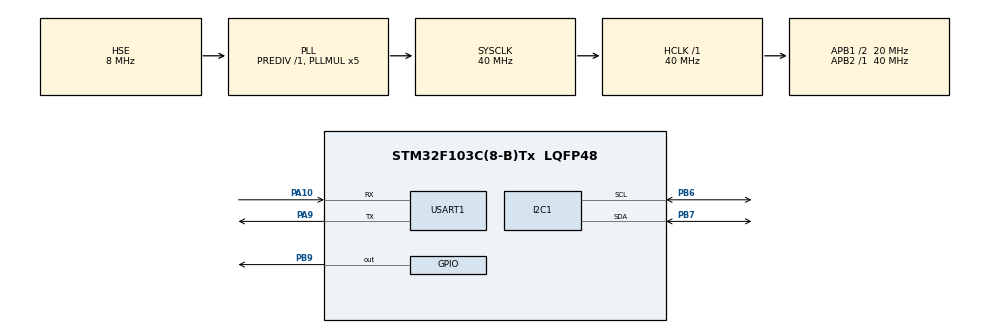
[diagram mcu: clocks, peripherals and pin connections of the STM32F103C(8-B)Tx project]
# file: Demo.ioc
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Mcu.Family=STM32F1
Mcu.Name=STM32F103C(8-B)Tx
Mcu.Package=LQFP48
NVIC.PriorityGroup=NVIC_PRIORITYGROUP_4
NVIC.TIM3_IRQn=true\:1\:0\:true\:false\:true\:true\:true\:true
PA10.Mode=Asynchronous
PA10.Signal=USART1_RX
PA13.Mode=Serial_Wire
PA13.Signal=SYS_JTMS-SWDIO
PA14.Mode=Serial_Wire
PA14.Signal=SYS_JTCK-SWCLK
PA9.Mode=Asynchronous
PA9.Signal=USART1_TX
PB6.Mode=I2C
PB6.Signal=I2C1_SCL
PB7.Mode=I2C
PB7.Signal=I2C1_SDA
PB9.Signal=GPIO_Output
PD0-OSC_IN.Mode=HSE-External-Oscillator
PD0-OSC_IN.Signal=RCC_OSC_IN
PD1-OSC_OUT.Mode=HSE-External-Oscillator
PD1-OSC_OUT.Signal=RCC_OSC_OUT
ProjectManager.HeapSize=0x200
ProjectManager.StackSize=0x400
ProjectManager.TargetToolchain=STM32CubeIDE
RCC.AHBFreq_Value=40000000
RCC.APB1CLKDivider=RCC_HCLK_DIV2
RCC.APB1Freq_Value=20000000
RCC.APB1TimFreq_Value=40000000
RCC.APB2Freq_Value=40000000
RCC.APB2TimFreq_Value=40000000
RCC.HCLKFreq_Value=40000000
RCC.PLLMUL=RCC_PLL_MUL5
RCC.PLLSourceVirtual=RCC_PLLSOURCE_HSE
RCC.SYSCLKFreq_VALUE=40000000
RCC.SYSCLKSource=RCC_SYSCLKSOURCE_PLLCLK
RCC.USBFreq_Value=40000000
TIM2.Prescaler=39
TIM3.Period=5000-1
TIM3.Prescaler=4000-1
USART1.VirtualMode=VM_ASYNC
VP_TIM2_VS_ClockSourceINT.Mode=Internal
VP_TIM3_VS_ClockSourceINT.Mode=Internal
board=custom

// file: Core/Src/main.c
/* USER CODE BEGIN Header */
/**
  ******************************************************************************
  * @file           : main.c
  * @brief          : Main program body
  ******************************************************************************
  * @attention
  *
  * Copyright (c) 2024 STMicroelectronics.
  * All rights reserved.
  *
  * This software is licensed under terms that can be found in the LICENSE file
  * in the root directory of this software component.
  * If no LICENSE file comes with this software, it is provided AS-IS.
  *
  ******************************************************************************
  */
/* USER CODE END Header */
#include "main.h"

/* USER CODE BEGIN Includes */
#include <stdio.h>
#include <stdint.h>
#include <string.h>

/* USER CODE END Includes */

/* USER CODE BEGIN PD */
uint32_t wait = 5000;
/* USER CODE END PD */

I2C_HandleTypeDef hi2c1;

TIM_HandleTypeDef htim2;
TIM_HandleTypeDef htim3;

UART_HandleTypeDef huart1;

void SystemClock_Config(void);
static void MX_GPIO_Init(void);
static void MX_USART1_UART_Init(void);
static void MX_I2C1_Init(void);
static void MX_TIM2_Init(void);
static void MX_TIM3_Init(void);

/* USER CODE BEGIN 0 */
/* ==========================LCD I2C ==========================*/
#define LCD_ADDR 0x4E
#define ADDRESS_FLASH_TEMPE 0x0800F000
#define ADDRESS_FLASH_HUMID 0x0800F004
/* ================= CREATE A DELAY 1us =================== */
void delay_1us(uint16_t time)
{
	__HAL_TIM_SET_COUNTER(&htim2,0);
	while((__HAL_TIM_GET_COUNTER(&htim2)) < time);
}
void LCD_Command(char cmd)
{
	char data_l, data_u;
	uint8_t data_t[4];
	data_u = (cmd&0xf0);
	data_l = ((cmd<<4)&0xf0);
	data_t[0] = data_u|0x0C;  //en=1, rs=0
	data_t[1] = data_u|0x08;  //en=0, rs=0
	data_t[2] = data_l|0x0C;  //en=1, rs=0
	data_t[3] = data_l|0x08;  //en=0, rs=0
	HAL_I2C_Master_Transmit (&hi2c1, LCD_ADDR,(uint8_t *) data_t, 4, 100);
}
void LCD_Data(char data)
{
	char data_l, data_u;
	uint8_t data_t[4];
	data_u = (data&0xf0);
	data_l = ((data<<4)&0xf0);
	data_t[0] = data_u|0x0D;  //en=1, rs=0
	data_t[1] = data_u|0x09;  //en=0, rs=0
	data_t[2] = data_l|0x0D;  //en=1, rs=0
	data_t[3] = data_l|0x09;  //en=0, rs=0
	HAL_I2C_Master_Transmit (&hi2c1, LCD_ADDR,(uint8_t *) data_t, 4, 100);
}
void LCD_Init(void)
{
	// 4 bit initialisation
	delay_1us(50000);  // wait for >40ms
	LCD_Command(0x30);
	delay_1us(5000);  // wait for >4.1ms
	LCD_Command (0x30);
	delay_1us(1000);  // wait for >100us
	LCD_Command (0x30);
	delay_1us(10000);
	LCD_Command (0x20);  // 4bit mode
	delay_1us(10000);

  // dislay initialisation
	LCD_Command (0x28); // Function set --> DL=0 (4 bit mode), N = 1 (2 line display) F = 0 (5x8 characters)
	delay_1us(1000);
	LCD_Command (0x08); //Display on/off control --> D=0,C=0, B=0  ---> display off
	delay_1us(1000);
	LCD_Command (0x01);  // clear display
	delay_1us(1000);
	delay_1us(1000);
	LCD_Command (0x06); //Entry mode set --> I/D = 1 (increment cursor) & S = 0 (no shift)
	delay_1us(1000);
	LCD_Command (0x0C); //Display on/off control --> D = 1, C and B = 0. (Cursor and blink, last two bits)

}
void LCD_GotoXY(uint8_t row, uint8_t col, char data)
{
	unsigned char cmd;
	cmd = (row==1?0x80:0xC0) + col - 1;
	LCD_Command(cmd);
	LCD_Data(data);

}
void LCD_String(char *s)
{
	while(*s)
	{
		LCD_Data(*s);
		s++;
	}
}
void LCD_GotoXY_String(uint8_t row, uint8_t col, char* data)
{
	unsigned char cmd;
	cmd = (row==1?0x80:0xC0) + col - 1;
	LCD_Command(cmd);
	LCD_String(data);

}

volatile uint8_t Temperature_byte1, Temperature_byte2, Humidity_byte1, Humidity_byte2, checksum = 0;
volatile uint16_t sum, humidity,temperature = 0;
volatile uint16_t humidity_flash, temperature_flash = 0;
volatile uint8_t check;
volatile uint8_t txbuffer[7];
volatile char tempe[4];
volatile char humid[4];
volatile char tempe_display[]="Nhiet Do: ";
volatile char humid_display[]="Do Am: ";
void Flash_Erase(uint32_t address)
{
	HAL_FLASH_Unlock();
	FLASH_EraseInitTypeDef EraseInitStruct;
	EraseInitStruct.Banks = 1;
	EraseInitStruct.NbPages = 1;
	EraseInitStruct.PageAddress = address;
	EraseInitStruct.TypeErase = FLASH_TYPEERASE_PAGES;
	uint32_t err;
	HAL_FLASHEx_Erase(&EraseInitStruct, &err);
	HAL_FLASH_Lock();
}
void Flash_WriteData(uint32_t address, int value)
{
	HAL_FLASH_Unlock();
	HAL_FLASH_Program(FLASH_TYPEPROGRAM_HALFWORD,address,value);
	HAL_FLASH_Lock();
}
int Flash_ReadData(uint32_t address)
{
	return *(__IO uint16_t *)(address);
}
void Int2String(uint16_t data, char *s)
{
	s[0] = data/10 + 48;
	s[1] = data%10 + 48;
}
void Set_Pin_Output(GPIO_TypeDef *GPIOx,uint16_t GPIO_PIN)
{
	 /*Configure GPIO pin : OUTPUT */
	  GPIO_InitTypeDef GPIO_InitStruct = {0};
	  GPIO_InitStruct.Pin = GPIO_PIN;
	  GPIO_InitStruct.Mode = GPIO_MODE_OUTPUT_PP;
	  GPIO_InitStruct.Pull = GPIO_NOPULL;
	  GPIO_InitStruct.Speed = GPIO_SPEED_FREQ_LOW;
	  HAL_GPIO_Init(GPIOB, &GPIO_InitStruct);
}
void Set_Pin_Input(GPIO_TypeDef *GPIOx,uint16_t GPIO_PIN)
{
	 /*Configure GPIO pin : INPUT */
	  GPIO_InitTypeDef GPIO_InitStruct = {0};
	  GPIO_InitStruct.Pin = GPIO_PIN;
	  GPIO_InitStruct.Mode = GPIO_MODE_INPUT;
	  GPIO_InitStruct.Pull = GPIO_PULLUP;
	  GPIO_InitStruct.Speed = GPIO_SPEED_FREQ_LOW;
	  HAL_GPIO_Init(GPIOB, &GPIO_InitStruct);
}
/* ======================== DHT11 ========================== */
#define DHT11_PORT GPIOB
#define DHT11_PIN GPIO_PIN_9
void DHT11_Init(void)
{
	Set_Pin_Output(DHT11_PORT, DHT11_PIN);
	HAL_GPIO_WritePin(DHT11_PORT,DHT11_PIN,0);
	delay_1us(18000);
	HAL_GPIO_WritePin(DHT11_PORT,DHT11_PIN,1);
	delay_1us(20);
	Set_Pin_Input(DHT11_PORT, DHT11_PIN);
}
uint8_t DHT11_Check(void)
{
	uint8_t response = 0;
	delay_1us(40);
	if (!(HAL_GPIO_ReadPin(DHT11_PORT, DHT11_PIN)))
	{
		delay_1us(80);
		if ((HAL_GPIO_ReadPin(DHT11_PORT, DHT11_PIN))) response = 1;
		else response = -1;
	}
	while ((HAL_GPIO_ReadPin(DHT11_PORT, DHT11_PIN)));   // wait for the pin to go low

	return response;
}
uint8_t DHT11_Read(void)
{
	uint8_t i,j;
	for (j=0;j<8;j++)
	{
		while (!(HAL_GPIO_ReadPin (DHT11_PORT, DHT11_PIN)));   // wait for the pin to go high
		delay_1us(40);   // wait for 40 us
		if (!(HAL_GPIO_ReadPin (DHT11_PORT, DHT11_PIN)))   // if the pin is low
		{
			i&= ~(1<<(7-j));   // write 0
		}
		else i|= (1<<(7-j));  // if the pin is high, write 1
		while ((HAL_GPIO_ReadPin (DHT11_PORT, DHT11_PIN)));  // wait for the pin to go low
	}
	return i;
}
void HAL_TIM_PeriodElapsedCallback(TIM_HandleTypeDef *htim)
{
 if(htim->Instance == htim3.Instance)
 {
	  DHT11_Init();
	  check = DHT11_Check();
	  Humidity_byte1 = DHT11_Read();
	  Humidity_byte2 = DHT11_Read();
	  Temperature_byte1 = DHT11_Read();
	  Temperature_byte2 = DHT11_Read();
	  checksum = DHT11_Read();

	  humidity = Humidity_byte1;
	  temperature = Temperature_byte1;
	 /* Int2String(humidity, humid);
	  LCD_GotoXY_String(2, 7, humid);
	  Int2String(temperature, tempe);
	  LCD_GotoXY_String(1, 10, tempe);
	  */
	  Flash_Erase(ADDRESS_FLASH_TEMPE);
	  Flash_WriteData(ADDRESS_FLASH_TEMPE,temperature);

	  	  //Flash_Erase(ADDRESS_FLASH);
	  Flash_WriteData(ADDRESS_FLASH_HUMID,humidity);
	  /* Convert temperature and humidity data to transmit through UART */
	  txbuffer[0] = temperature/10+48;
	  txbuffer[1] = temperature%10+48;
	  txbuffer[2] = '/';
	  txbuffer[3] = humidity/10+48;
	  txbuffer[4] = humidity%10+48;
	  txbuffer[5] = '\r';
	  txbuffer[6] = '\n';

	  HAL_UART_Transmit(&huart1,txbuffer,sizeof(txbuffer),1000);
 }
}
/* USER CODE END 0 */

int main(void)
{
  /* USER CODE BEGIN 1 */
	//Flash_Erase(ADDRESS_FLASH_TEMPE);
	//Flash_WriteData(ADDRESS_FLASH_TEMPE,1000);

  /* USER CODE END 1 */

  /* MCU Configuration--------------------------------------------------------*/

  /* Reset of all peripherals, Initializes the Flash interface and the Systick. */
  HAL_Init();

  /* Configure the system clock */
  SystemClock_Config();

  /* Initialize all configured peripherals */
  MX_GPIO_Init();
  MX_USART1_UART_Init();
  MX_I2C1_Init();
  MX_TIM2_Init();
  MX_TIM3_Init();
  /* USER CODE BEGIN 2 */
  //HAL_UART_Transmit(&huart1,txbuffer,sizeof(txbuffer),1000);
  temperature_flash = Flash_ReadData(ADDRESS_FLASH_TEMPE);
  humidity_flash = Flash_ReadData(ADDRESS_FLASH_HUMID);
  if(temperature_flash != 0 && humidity_flash != 0 )
  {
	  LCD_Init();
	  LCD_String(tempe_display);
	  LCD_GotoXY_String(2,1,humid_display);
	  LCD_GotoXY_String(1,13,"*C");
	  LCD_GotoXY_String(2,10,"%");
	  LCD_GotoXY_String(2, 7, humid);
	  Int2String(temperature_flash, tempe);
	  LCD_GotoXY_String(1, 10, tempe);
	  Int2String(humidity_flash, tempe);
	  LCD_GotoXY_String(1, 10, tempe);
  }
  HAL_TIM_Base_Start(&htim2);
  HAL_TIM_Base_Start_IT(&htim3);
  LCD_Init();
  LCD_String(tempe_display);
  LCD_GotoXY_String(2,1,humid_display);
  LCD_GotoXY_String(1,13,"*C");
  LCD_GotoXY_String(2,10,"%");
  // tickstart = HAL_GetTick();
  /* USER CODE END 2 */

  /* Infinite loop */
  while (1)
  {

  }
}

void SystemClock_Config(void)
{
  RCC_OscInitTypeDef RCC_OscInitStruct = {0};
  RCC_ClkInitTypeDef RCC_ClkInitStruct = {0};

  /** Initializes the RCC Oscillators according to the specified parameters
  * in the RCC_OscInitTypeDef structure.
  */
  RCC_OscInitStruct.OscillatorType = RCC_OSCILLATORTYPE_HSE;
  RCC_OscInitStruct.HSEState = RCC_HSE_ON;
  RCC_OscInitStruct.HSEPredivValue = RCC_HSE_PREDIV_DIV1;
  RCC_OscInitStruct.HSIState = RCC_HSI_ON;
  RCC_OscInitStruct.PLL.PLLState = RCC_PLL_ON;
  RCC_OscInitStruct.PLL.PLLSource = RCC_PLLSOURCE_HSE;
  RCC_OscInitStruct.PLL.PLLMUL = RCC_PLL_MUL5;
  if (HAL_RCC_OscConfig(&RCC_OscInitStruct) != HAL_OK)
  {
    Error_Handler();
  }

  /** Initializes the CPU, AHB and APB buses clocks
  */
  RCC_ClkInitStruct.ClockType = RCC_CLOCKTYPE_HCLK|RCC_CLOCKTYPE_SYSCLK
                              |RCC_CLOCKTYPE_PCLK1|RCC_CLOCKTYPE_PCLK2;
  RCC_ClkInitStruct.SYSCLKSource = RCC_SYSCLKSOURCE_PLLCLK;
  RCC_ClkInitStruct.AHBCLKDivider = RCC_SYSCLK_DIV1;
  RCC_ClkInitStruct.APB1CLKDivider = RCC_HCLK_DIV2;
  RCC_ClkInitStruct.APB2CLKDivider = RCC_HCLK_DIV1;

  if (HAL_RCC_ClockConfig(&RCC_ClkInitStruct, FLASH_LATENCY_1) != HAL_OK)
  {
    Error_Handler();
  }
}

static void MX_I2C1_Init(void)
{

  hi2c1.Instance = I2C1;
  hi2c1.Init.ClockSpeed = 100000;
  hi2c1.Init.DutyCycle = I2C_DUTYCYCLE_2;
  hi2c1.Init.OwnAddress1 = 0;
  hi2c1.Init.AddressingMode = I2C_ADDRESSINGMODE_7BIT;
  hi2c1.Init.DualAddressMode = I2C_DUALADDRESS_DISABLE;
  hi2c1.Init.OwnAddress2 = 0;
  hi2c1.Init.GeneralCallMode = I2C_GENERALCALL_DISABLE;
  hi2c1.Init.NoStretchMode = I2C_NOSTRETCH_DISABLE;
  if (HAL_I2C_Init(&hi2c1) != HAL_OK)
  {
    Error_Handler();
  }

}

static void MX_TIM2_Init(void)
{

  TIM_ClockConfigTypeDef sClockSourceConfig = {0};
  TIM_MasterConfigTypeDef sMasterConfig = {0};

  htim2.Instance = TIM2;
  htim2.Init.Prescaler = 39;
  htim2.Init.CounterMode = TIM_COUNTERMODE_UP;
  htim2.Init.Period = 65535;
  htim2.Init.ClockDivision = TIM_CLOCKDIVISION_DIV1;
  htim2.Init.AutoReloadPreload = TIM_AUTORELOAD_PRELOAD_DISABLE;
  if (HAL_TIM_Base_Init(&htim2) != HAL_OK)
  {
    Error_Handler();
  }
  sClockSourceConfig.ClockSource = TIM_CLOCKSOURCE_INTERNAL;
  if (HAL_TIM_ConfigClockSource(&htim2, &sClockSourceConfig) != HAL_OK)
  {
    Error_Handler();
  }
  sMasterConfig.MasterOutputTrigger = TIM_TRGO_RESET;
  sMasterConfig.MasterSlaveMode = TIM_MASTERSLAVEMODE_DISABLE;
  if (HAL_TIMEx_MasterConfigSynchronization(&htim2, &sMasterConfig) != HAL_OK)
  {
    Error_Handler();
  }

}

static void MX_TIM3_Init(void)
{

  TIM_ClockConfigTypeDef sClockSourceConfig = {0};
  TIM_MasterConfigTypeDef sMasterConfig = {0};

  htim3.Instance = TIM3;
  htim3.Init.Prescaler = 4000-1;
  htim3.Init.CounterMode = TIM_COUNTERMODE_UP;
  htim3.Init.Period = 5000-1;
  htim3.Init.ClockDivision = TIM_CLOCKDIVISION_DIV1;
  htim3.Init.AutoReloadPreload = TIM_AUTORELOAD_PRELOAD_DISABLE;
  if (HAL_TIM_Base_Init(&htim3) != HAL_OK)
  {
    Error_Handler();
  }
  sClockSourceConfig.ClockSource = TIM_CLOCKSOURCE_INTERNAL;
  if (HAL_TIM_ConfigClockSource(&htim3, &sClockSourceConfig) != HAL_OK)
  {
    Error_Handler();
  }
  sMasterConfig.MasterOutputTrigger = TIM_TRGO_RESET;
  sMasterConfig.MasterSlaveMode = TIM_MASTERSLAVEMODE_DISABLE;
  if (HAL_TIMEx_MasterConfigSynchronization(&htim3, &sMasterConfig) != HAL_OK)
  {
    Error_Handler();
  }

}

static void MX_USART1_UART_Init(void)
{

  huart1.Instance = USART1;
  huart1.Init.BaudRate = 115200;
  huart1.Init.WordLength = UART_WORDLENGTH_8B;
  huart1.Init.StopBits = UART_STOPBITS_1;
  huart1.Init.Parity = UART_PARITY_NONE;
  huart1.Init.Mode = UART_MODE_TX_RX;
  huart1.Init.HwFlowCtl = UART_HWCONTROL_NONE;
  huart1.Init.OverSampling = UART_OVERSAMPLING_16;
  if (HAL_UART_Init(&huart1) != HAL_OK)
  {
    Error_Handler();
  }

}

static void MX_GPIO_Init(void)
{
  GPIO_InitTypeDef GPIO_InitStruct = {0};

  /* GPIO Ports Clock Enable */
  __HAL_RCC_GPIOD_CLK_ENABLE();
  __HAL_RCC_GPIOA_CLK_ENABLE();
  __HAL_RCC_GPIOB_CLK_ENABLE();

  /*Configure GPIO pin Output Level */
  HAL_GPIO_WritePin(GPIOB, GPIO_PIN_9, GPIO_PIN_RESET);

  /*Configure GPIO pin : PB9 */
  GPIO_InitStruct.Pin = GPIO_PIN_9;
  GPIO_InitStruct.Mode = GPIO_MODE_OUTPUT_PP;
  GPIO_InitStruct.Pull = GPIO_NOPULL;
  GPIO_InitStruct.Speed = GPIO_SPEED_FREQ_LOW;
  HAL_GPIO_Init(GPIOB, &GPIO_InitStruct);

}

void Error_Handler(void)
{
  __disable_irq();
  while (1)
  {
  }
}
